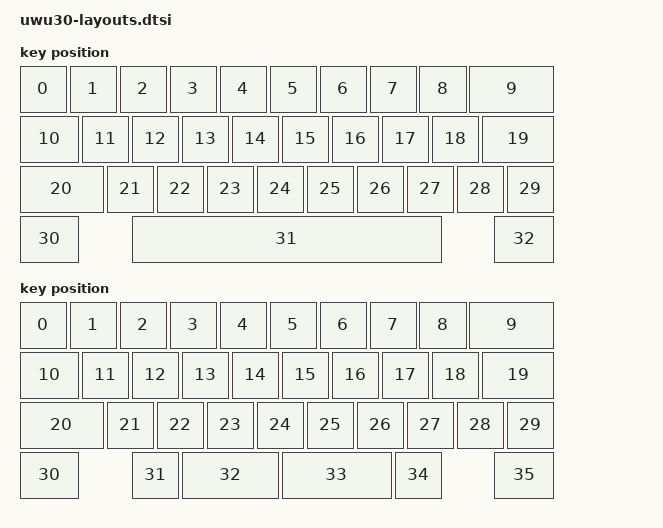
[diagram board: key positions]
/*
 * Copyright (c) 2024 Brandon Beltran
 *
 * SPDX-License-Identifier: MIT
 */

#include <physical_layouts.dtsi>

/ {
    chosen {
        zmk,physical-layout = &default_layout;
    };

    default_layout: layout_0 {
        compatible = "zmk,physical-layout";
        display-name = "Default";

        transform = <&default_transform>;

        keys  //                     w   h    x    y     rot    rx    ry
            = <&key_physical_attrs 100 100    0    0       0     0     0>
            , <&key_physical_attrs 100 100  100    0       0     0     0>
            , <&key_physical_attrs 100 100  200    0       0     0     0>
            , <&key_physical_attrs 100 100  300    0       0     0     0>
            , <&key_physical_attrs 100 100  400    0       0     0     0>
            , <&key_physical_attrs 100 100  500    0       0     0     0>
            , <&key_physical_attrs 100 100  600    0       0     0     0>
            , <&key_physical_attrs 100 100  700    0       0     0     0>
            , <&key_physical_attrs 100 100  800    0       0     0     0>
            , <&key_physical_attrs 175 100  900    0       0     0     0>
            , <&key_physical_attrs 125 100    0  100       0     0     0>
            , <&key_physical_attrs 100 100  125  100       0     0     0>
            , <&key_physical_attrs 100 100  225  100       0     0     0>
            , <&key_physical_attrs 100 100  325  100       0     0     0>
            , <&key_physical_attrs 100 100  425  100       0     0     0>
            , <&key_physical_attrs 100 100  525  100       0     0     0>
            , <&key_physical_attrs 100 100  625  100       0     0     0>
            , <&key_physical_attrs 100 100  725  100       0     0     0>
            , <&key_physical_attrs 100 100  825  100       0     0     0>
            , <&key_physical_attrs 150 100  925  100       0     0     0>
            , <&key_physical_attrs 175 100    0  200       0     0     0>
            , <&key_physical_attrs 100 100  175  200       0     0     0>
            , <&key_physical_attrs 100 100  275  200       0     0     0>
            , <&key_physical_attrs 100 100  375  200       0     0     0>
            , <&key_physical_attrs 100 100  475  200       0     0     0>
            , <&key_physical_attrs 100 100  575  200       0     0     0>
            , <&key_physical_attrs 100 100  675  200       0     0     0>
            , <&key_physical_attrs 100 100  775  200       0     0     0>
            , <&key_physical_attrs 100 100  875  200       0     0     0>
            , <&key_physical_attrs 100 100  975  200       0     0     0>
            , <&key_physical_attrs 125 100    0  300       0     0     0>
            , <&key_physical_attrs 625 100  225  300       0     0     0>
            , <&key_physical_attrs 125 100  950  300       0     0     0>
            ;
    };


    default_splitbar_layout: layout_1 {
        compatible = "zmk,physical-layout";
        display-name = "Split spacebar";

        transform = <&default_splitbar_transform>;

        keys  //                     w   h    x    y     rot    rx    ry
            = <&key_physical_attrs 100 100    0    0       0     0     0>
            , <&key_physical_attrs 100 100  100    0       0     0     0>
            , <&key_physical_attrs 100 100  200    0       0     0     0>
            , <&key_physical_attrs 100 100  300    0       0     0     0>
            , <&key_physical_attrs 100 100  400    0       0     0     0>
            , <&key_physical_attrs 100 100  500    0       0     0     0>
            , <&key_physical_attrs 100 100  600    0       0     0     0>
            , <&key_physical_attrs 100 100  700    0       0     0     0>
            , <&key_physical_attrs 100 100  800    0       0     0     0>
            , <&key_physical_attrs 175 100  900    0       0     0     0>
            , <&key_physical_attrs 125 100    0  100       0     0     0>
            , <&key_physical_attrs 100 100  125  100       0     0     0>
            , <&key_physical_attrs 100 100  225  100       0     0     0>
            , <&key_physical_attrs 100 100  325  100       0     0     0>
            , <&key_physical_attrs 100 100  425  100       0     0     0>
            , <&key_physical_attrs 100 100  525  100       0     0     0>
            , <&key_physical_attrs 100 100  625  100       0     0     0>
            , <&key_physical_attrs 100 100  725  100       0     0     0>
            , <&key_physical_attrs 100 100  825  100       0     0     0>
            , <&key_physical_attrs 150 100  925  100       0     0     0>
            , <&key_physical_attrs 175 100    0  200       0     0     0>
            , <&key_physical_attrs 100 100  175  200       0     0     0>
            , <&key_physical_attrs 100 100  275  200       0     0     0>
            , <&key_physical_attrs 100 100  375  200       0     0     0>
            , <&key_physical_attrs 100 100  475  200       0     0     0>
            , <&key_physical_attrs 100 100  575  200       0     0     0>
            , <&key_physical_attrs 100 100  675  200       0     0     0>
            , <&key_physical_attrs 100 100  775  200       0     0     0>
            , <&key_physical_attrs 100 100  875  200       0     0     0>
            , <&key_physical_attrs 100 100  975  200       0     0     0>
            , <&key_physical_attrs 125 100    0  300       0     0     0>
            , <&key_physical_attrs 100 100  225  300       0     0     0>
            , <&key_physical_attrs 200 100  325  300       0     0     0>
            , <&key_physical_attrs 225 100  525  300       0     0     0>
            , <&key_physical_attrs 100 100  750  300       0     0     0>
            , <&key_physical_attrs 125 100  950  300       0     0     0>
            ;
    };

};
